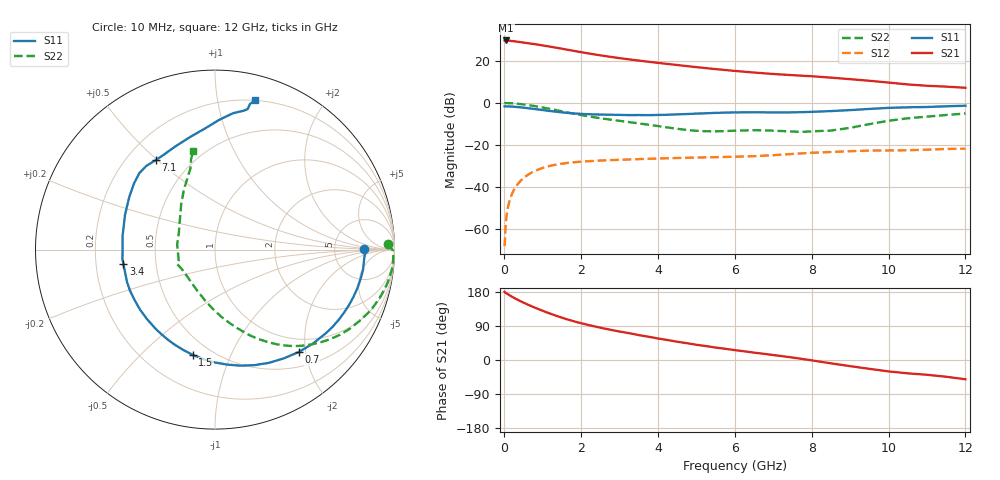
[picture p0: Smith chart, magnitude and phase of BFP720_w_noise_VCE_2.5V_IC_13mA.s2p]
! Infineon Technologies  Discrete & RF Semiconductors
! BFP720
! VCE =  2.5 V,  IC =  13 mA
! Common Emitter S-Parameters:  Aug 2012
# GHz  S  MA  R  50
!  f  S11  S21  S12  S22
! GHz  MAG  ANG  MAG  ANG  MAG  ANG  MAG  ANG
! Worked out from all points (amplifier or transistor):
!   105 points, 10 MHz to 12 GHz, reference 50 ohm
!   highest |S21| = 29.7 dB at 50 MHz (marker M1)
!   |S21| within 3 dB of that: start of sweep to 1.212 GHz
!   unconditionally stable (mu >= 1): start of sweep to 12.2 MHz; 5.06 GHz to 11.15 GHz
!   at 300 MHz: K = 0.11, MSG = 34.5 dB, |S12| = -39.8 dB
!   at 3.6 GHz: K = 0.78, MSG = 23.2 dB, |S12| = -26.6 dB
!   at 12 GHz: K = 0.79, MSG = 14.5 dB, |S12| = -21.7 dB
!   lowest NFmin = 0.59 dB at 450 MHz
!   S11 on the Smith chart (normalised r, x): 10 MHz: 11, +0; 700 MHz: 0.75, -1.87; 1.5 GHz: 0.40, -0.73; 3.4 GHz: 0.32, -0.07; 7.1 GHz: 0.32, +0.50; 12 GHz: 0.20, +1.29
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0.01  0.8305 0.1  30.18 179.9  0.0004 -51.0  0.9671 1.9
0.02  0.8359 -1.5  30.25 178.1  0.0006 84.3  0.9925 -0.5
0.05  0.8325 -3.7  30.48 176.3  0.0017 99.4  0.9941 -2.0
0.2  0.8221 -15.0  29.57 167.2  0.0069 81.3  0.9837 -9.4
0.35  0.8002 -26.0  28.37 159.0  0.0118 75.8  0.9569 -16.2
0.5  0.7748 -36.7  27.15 151.5  0.0164 70.5  0.9229 -22.5
0.7  0.7375 -50.7  25.58 142.4  0.022 63.7  0.8703 -30.5
0.9  0.6989 -64.5  24.04 134.0  0.0267 57.5  0.8127 -37.9
1.1  0.6621 -77.6  22.45 126.0  0.0307 51.8  0.7517 -44.7
1.3  0.6284 -90.2  20.9 118.6  0.0338 46.8  0.6921 -51.0
1.5  0.5996 -101.9  19.4 111.8  0.0363 42.5  0.635 -56.4
1.8  0.5668 -117.5  17.34 102.5  0.0391 37.1  0.5596 -63.5
2.1  0.5459 -130.2  15.51 94.7  0.041 33.0  0.4989 -69.4
2.6  0.5291 -147.7  13.1 83.1  0.0434 27.9  0.4225 -78.1
3.4  0.5166 -171.1  10.41 67.8  0.0462 22.8  0.3376 -90.7
4.1  0.5221 168.6  8.75 55.2  0.0484 19.5  0.2751 -104.6
5  0.5604 148.5  7.098 40.1  0.0507 16.1  0.2188 -131.4
6.1  0.5996 133.7  5.668 24.8  0.0534 14.1  0.2213 -156.0
7.1  0.5983 123.3  4.815 11.8  0.0585 13.7  0.2183 -160.8
8.5  0.6424 102.5  3.997 -8.8  0.0687 7.1  0.2212 155.7
10.5  0.7897 78.4  2.755 -35.2  0.0756 -4.8  0.433 110.4
12  0.862 74.9  2.298 -50.8  0.0822 -13.2  0.5622 102.5
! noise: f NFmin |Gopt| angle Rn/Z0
0.45  0.59  0.25  1  0.17
1.8  0.65  0.23  16  0.13
2.4  0.7  0.21  29  0.37
5.5  0.86  0.09  -13  0.17
10  1.05  0.42  -76  0.26
